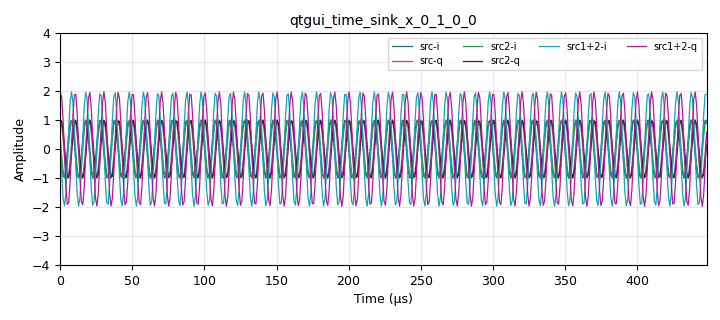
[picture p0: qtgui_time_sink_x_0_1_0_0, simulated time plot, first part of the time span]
options:
  parameters:
    author: btfz
    generate_options: qt_gui
    id: b210_double_send
    output_language: python
    title: b210_double_send
  states: {}

blocks:
- name: freq
  id: variable
  parameters:
    value: 2.0e9
  states: {}
- name: phase_shift
  id: variable_qtgui_range
  parameters:
    label: phase_shift
    start: '-360'
    step: '0.1'
    stop: '360'
    value: '0'
  states: {}
- name: samp_rate
  id: variable
  parameters:
    value: '1024000'
  states: {}
- name: uhd_gain
  id: variable_qtgui_range
  parameters:
    comment: |-
      2,0,1,2
      uhd gain：(0~70)
    label: GAIN
    rangeType: int
    start: '0'
    step: '1'
    stop: '70'
    value: '35'
  states: {}
- name: analog_sig_source_x_0_0_0_1_0_0_0
  id: analog_sig_source_x
  parameters:
    amp: '1'
    freq: '100000'
    offset: '0'
    phase: '0'
    samp_rate: samp_rate
    type: complex
    waveform: analog.GR_COS_WAVE
  states: {}
- name: blocks_add_xx_0_0_0_0_0
  id: blocks_add_xx
  parameters:
    type: complex
  states: {}
- name: epy_block_0
  id: epy_block
  parameters:
    _source_code: |
      import numpy as np
      from gnuradio import gr

      class phase_scan_sync_tx(gr.sync_block):
          def __init__(self, samp_rate=2e6, scan_freq=10.0): # 默认每秒扫10圈
              gr.sync_block.__init__(self,
                  name='Phase Scan with Sync Pulse',
                  in_sig=[np.complex64],
                  out_sig=[np.complex64, np.complex64]) # 输出两路：一路基准，一路扫描
              
              self.samp_rate = samp_rate
              self.scan_freq = scan_freq
              self.phase_acc = 0.0
              # 每采样一个点增加的角度偏移
              self.phase_step = (2 * np.pi * scan_freq) / samp_rate

          def work(self, input_items, output_items):
              in0 = input_items[0]
              out_ref = output_items[0]
              out_scan = output_items[1]
              
              # 预计算当前的相位向量
              num_samples = len(in0)
              phases = self.phase_acc + np.arange(num_samples) * self.phase_step
              
              # 核心逻辑：生成相位旋转向量
              rotator = np.exp(1j * phases)
              
              # 核心逻辑：生成同步脉冲 (在相位接近 0 的前 1% 周期内幅度加倍)
              # 这样接收端看到幅度异常大，就知道是一圈的开始了
              sync_mask = np.where((phases % (2 * np.pi)) < (2 * np.pi * 0.01), 2.0, 1.0)
              
              out_ref[:] = in0 * sync_mask  # 基准路带同步脉冲
              out_scan[:] = in0 * rotator   # 扫描路带相位旋转
              
              self.phase_acc = (self.phase_acc + num_samples * self.phase_step) % (2 * np.pi)
              return len(out_ref)
    samp_rate: samp_rate
    scan_freq: '10'
  states: {}
- name: note_0
  id: note
  parameters:
    comment: |-
      - 不能 1 发 2 收，或者 2 发 1 收；只能 2 发或 2 收 或 2 发 2 收；
      - UHD 模块支持配置多个通道，对于发送，每个通道只能选 TX/RX 天线
                                                        对于接收，每个通道只能选择 RX2 或 TX/RX 天线（RX1 报错）
  states: {}
- name: qtgui_time_sink_x_0_1_0_0
  id: qtgui_time_sink_x
  parameters:
    label1: '"src-i"'
    label2: '"src-q"'
    label3: '"src2-i"'
    label4: '"src2-q"'
    label5: '"src1+2-i"'
    label6: '"src1+2-q"'
    nconnections: '3'
    size: '1024'
    srate: samp_rate
    type: complex
    ymax: '4'
    ymin: '-4'
  states: {}
- name: uhd_usrp_sink_0_0_1_0_0
  id: uhd_usrp_sink
  parameters:
    ant0: '"TX/RX"'
    ant1: '"TX/RX"'
    center_freq0: freq
    center_freq1: freq
    gain0: uhd_gain
    gain1: uhd_gain
    nchan: '2'
    samp_rate: samp_rate
    sync: pc_clock
    type: fc32
  states: {}
- name: virtual_sink_0_0
  id: virtual_sink
  parameters:
    stream_id: src
  states: {}
- name: virtual_sink_1_0
  id: virtual_sink
  parameters:
    stream_id: src2
  states: {}
- name: virtual_source_0
  id: virtual_source
  parameters:
    stream_id: src
  states: {}
- name: virtual_source_0_0
  id: virtual_source
  parameters:
    stream_id: src2
  states: {}
- name: virtual_source_0_0_0
  id: virtual_source
  parameters:
    stream_id: src2
  states: {}
- name: virtual_source_0_0_0_0
  id: virtual_source
  parameters:
    stream_id: src2
  states: {}
- name: virtual_source_0_1
  id: virtual_source
  parameters:
    stream_id: src
  states: {}
- name: virtual_source_0_2
  id: virtual_source
  parameters:
    stream_id: src
  states: {}

connections:
- [analog_sig_source_x_0_0_0_1_0_0_0, '0', epy_block_0, '0']
- [blocks_add_xx_0_0_0_0_0, '0', qtgui_time_sink_x_0_1_0_0, '2']
- [epy_block_0, '0', virtual_sink_0_0, '0']
- [epy_block_0, '1', virtual_sink_1_0, '0']
- [virtual_source_0, '0', qtgui_time_sink_x_0_1_0_0, '0']
- [virtual_source_0_0, '0', uhd_usrp_sink_0_0_1_0_0, '1']
- [virtual_source_0_0_0, '0', qtgui_time_sink_x_0_1_0_0, '1']
- [virtual_source_0_0_0_0, '0', blocks_add_xx_0_0_0_0_0, '1']
- [virtual_source_0_1, '0', uhd_usrp_sink_0_0_1_0_0, '0']
- [virtual_source_0_2, '0', blocks_add_xx_0_0_0_0_0, '0']

metadata:
  file_format: 1
  grc_version: 3.10.9.2
